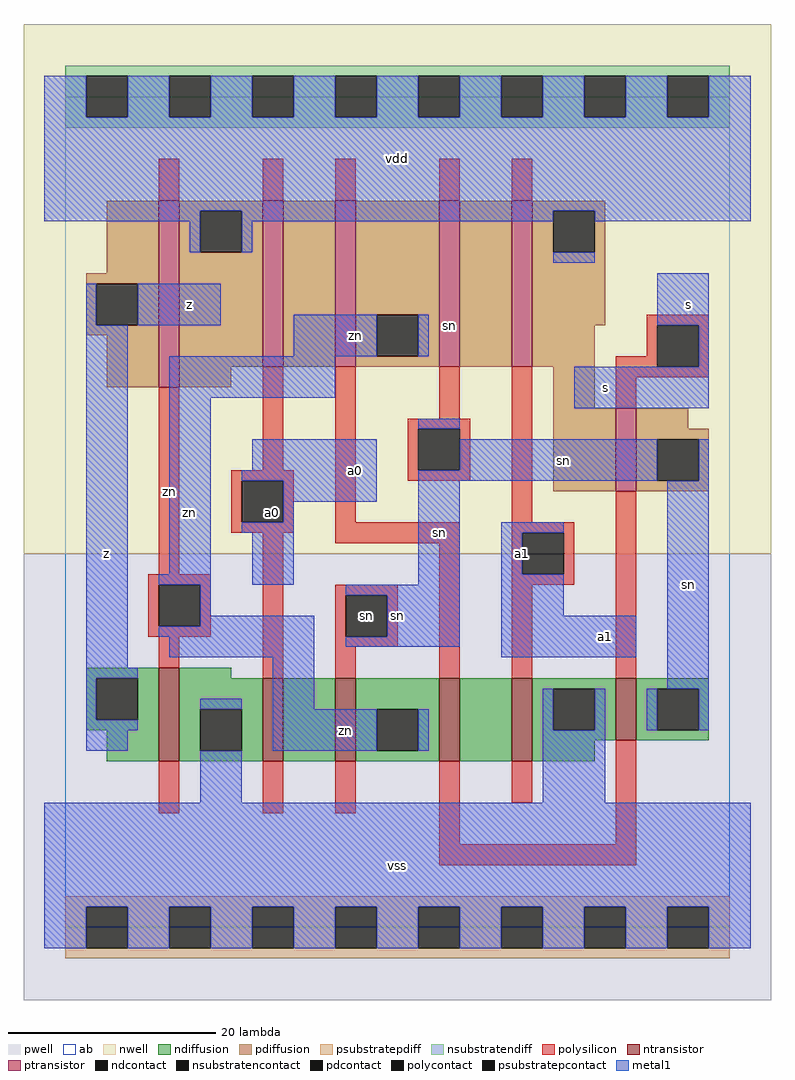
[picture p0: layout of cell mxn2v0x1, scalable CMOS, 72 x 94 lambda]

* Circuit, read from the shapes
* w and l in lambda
.subckt mxn2v0x1 a0 a1 s sn vdd vss z zn
M1 vss zn z vss nfet w=9 l=2
M2 n1 a0 vss vss nfet w=8 l=2
M3 zn sn n1 vss nfet w=8 l=2
M4 n2 s zn vss nfet w=8 l=2
M5 vss a1 n2 vss nfet w=8 l=2
M6 sn s vss vss nfet w=6 l=2
M7 vdd zn z vdd pfet w=18 l=2
M8 n3 a0 vdd vdd pfet w=16 l=2
M9 zn s n3 vdd pfet w=16 l=2
M10 n4 sn zn vdd pfet w=16 l=2
M11 vdd a1 n4 vdd pfet w=16 l=2
M12 sn s vdd vdd pfet w=8 l=2
.ends

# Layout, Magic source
magic
tech scmos
<< ab >>
rect 0 0 64 80
<< pwell >>
rect -4 -7 68 36
<< nwell >>
rect -4 36 68 87
<< polysilicon >>
rect 9 70 11 74
rect 19 70 21 74
rect 26 70 28 74
rect 36 70 38 74
rect 43 70 45 74
rect 56 58 62 59
rect 56 55 57 58
rect 9 34 11 52
rect 19 44 21 54
rect 16 43 22 44
rect 16 39 17 43
rect 21 39 22 43
rect 16 38 22 39
rect 26 39 28 54
rect 36 49 38 54
rect 33 48 39 49
rect 33 44 34 48
rect 38 44 39 48
rect 33 43 39 44
rect 43 39 45 54
rect 53 54 57 55
rect 61 54 62 58
rect 53 53 62 54
rect 53 50 55 53
rect 8 33 14 34
rect 8 29 9 33
rect 13 29 14 33
rect 8 28 14 29
rect 9 25 11 28
rect 19 24 21 38
rect 26 37 38 39
rect 26 32 32 33
rect 26 28 27 32
rect 31 28 32 32
rect 26 27 32 28
rect 26 24 28 27
rect 36 24 38 37
rect 43 38 49 39
rect 43 34 44 38
rect 48 34 49 38
rect 43 33 49 34
rect 43 24 45 33
rect 53 24 55 42
rect 9 11 11 16
rect 19 11 21 16
rect 26 11 28 16
rect 36 8 38 16
rect 43 12 45 16
rect 53 8 55 18
rect 36 6 55 8
<< ndiffusion >>
rect 2 24 9 25
rect 2 20 3 24
rect 7 20 9 24
rect 2 19 9 20
rect 4 16 9 19
rect 11 24 16 25
rect 11 21 19 24
rect 11 17 13 21
rect 17 17 19 21
rect 11 16 19 17
rect 21 16 26 24
rect 28 21 36 24
rect 28 17 30 21
rect 34 17 36 21
rect 28 16 36 17
rect 38 16 43 24
rect 45 23 53 24
rect 45 19 47 23
rect 51 19 53 23
rect 45 18 53 19
rect 55 23 62 24
rect 55 19 57 23
rect 61 19 62 23
rect 55 18 62 19
rect 45 16 51 18
<< pdiffusion >>
rect 4 63 9 70
rect 2 62 9 63
rect 2 58 3 62
rect 7 58 9 62
rect 2 57 9 58
rect 4 52 9 57
rect 11 69 19 70
rect 11 65 13 69
rect 17 65 19 69
rect 11 54 19 65
rect 21 54 26 70
rect 28 59 36 70
rect 28 55 30 59
rect 34 55 36 59
rect 28 54 36 55
rect 38 54 43 70
rect 45 69 52 70
rect 45 65 47 69
rect 51 65 52 69
rect 45 58 52 65
rect 45 54 51 58
rect 11 52 16 54
rect 47 50 51 54
rect 47 42 53 50
rect 55 48 60 50
rect 55 47 62 48
rect 55 43 57 47
rect 61 43 62 47
rect 55 42 62 43
<< metal1 >>
rect -2 78 2 82
rect 6 78 10 82
rect 14 78 18 82
rect 22 78 26 82
rect 30 78 34 82
rect 38 78 42 82
rect 46 78 50 82
rect 54 78 58 82
rect 62 78 66 82
rect -2 69 66 78
rect -2 68 13 69
rect 12 65 13 68
rect 17 68 47 69
rect 17 65 18 68
rect 51 68 66 69
rect 47 64 51 65
rect 2 58 3 62
rect 7 58 15 62
rect 2 25 6 58
rect 22 55 30 59
rect 34 55 35 59
rect 57 58 62 63
rect 10 51 26 55
rect 61 54 62 58
rect 10 34 14 51
rect 49 50 62 54
rect 34 48 38 49
rect 18 44 30 47
rect 17 43 30 44
rect 21 41 30 43
rect 38 44 57 47
rect 34 43 57 44
rect 61 43 62 47
rect 21 39 22 41
rect 17 38 22 39
rect 9 33 14 34
rect 18 33 22 38
rect 34 33 38 43
rect 13 30 14 33
rect 27 32 38 33
rect 13 29 24 30
rect 9 28 24 29
rect 10 26 24 28
rect 31 28 38 32
rect 27 27 38 28
rect 42 38 48 39
rect 42 34 44 38
rect 42 30 48 34
rect 42 26 55 30
rect 2 24 7 25
rect 2 20 3 24
rect 2 19 7 20
rect 13 21 17 22
rect 2 17 6 19
rect 20 21 24 26
rect 58 23 62 43
rect 20 17 30 21
rect 34 17 35 21
rect 46 19 47 23
rect 51 19 52 23
rect 56 19 57 23
rect 61 19 62 23
rect 13 12 17 17
rect 46 12 52 19
rect -2 2 66 12
rect -2 -2 2 2
rect 6 -2 10 2
rect 14 -2 18 2
rect 22 -2 26 2
rect 30 -2 34 2
rect 38 -2 42 2
rect 46 -2 50 2
rect 54 -2 58 2
rect 62 -2 66 2
<< ntransistor >>
rect 9 16 11 25
rect 19 16 21 24
rect 26 16 28 24
rect 36 16 38 24
rect 43 16 45 24
rect 53 18 55 24
<< ptransistor >>
rect 9 52 11 70
rect 19 54 21 70
rect 26 54 28 70
rect 36 54 38 70
rect 43 54 45 70
rect 53 42 55 50
<< polycontact >>
rect 17 39 21 43
rect 34 44 38 48
rect 57 54 61 58
rect 9 29 13 33
rect 27 28 31 32
rect 44 34 48 38
<< ndcontact >>
rect 3 20 7 24
rect 13 17 17 21
rect 30 17 34 21
rect 47 19 51 23
rect 57 19 61 23
<< pdcontact >>
rect 3 58 7 62
rect 13 65 17 69
rect 30 55 34 59
rect 47 65 51 69
rect 57 43 61 47
<< psubstratepcontact >>
rect 2 -2 6 2
rect 10 -2 14 2
rect 18 -2 22 2
rect 26 -2 30 2
rect 34 -2 38 2
rect 42 -2 46 2
rect 50 -2 54 2
rect 58 -2 62 2
<< nsubstratencontact >>
rect 2 78 6 82
rect 10 78 14 82
rect 18 78 22 82
rect 26 78 30 82
rect 34 78 38 82
rect 42 78 46 82
rect 50 78 54 82
rect 58 78 62 82
<< psubstratepdiff >>
rect 0 2 64 3
rect 0 -2 2 2
rect 6 -2 10 2
rect 14 -2 18 2
rect 22 -2 26 2
rect 30 -2 34 2
rect 38 -2 42 2
rect 46 -2 50 2
rect 54 -2 58 2
rect 62 -2 64 2
rect 0 -3 64 -2
<< nsubstratendiff >>
rect 0 82 64 83
rect 0 78 2 82
rect 6 78 10 82
rect 14 78 18 82
rect 22 78 26 82
rect 30 78 34 82
rect 38 78 42 82
rect 46 78 50 82
rect 54 78 58 82
rect 62 78 64 82
rect 0 77 64 78
<< labels >>
rlabel polysilicon 10 42 10 42 6 zn
rlabel polycontact 29 30 29 30 6 sn
rlabel ptransistor 37 58 37 58 6 sn
rlabel metal1 4 36 4 36 6 z
rlabel polycontact 20 40 20 40 6 a0
rlabel metal1 12 40 12 40 6 zn
rlabel metal1 12 60 12 60 6 z
rlabel metal1 32 6 32 6 6 vss
rlabel metal1 27 19 27 19 6 zn
rlabel metal1 32 30 32 30 6 sn
rlabel metal1 28 44 28 44 6 a0
rlabel metal1 36 38 36 38 6 sn
rlabel metal1 28 57 28 57 6 zn
rlabel metal1 32 74 32 74 6 vdd
rlabel metal1 44 36 44 36 6 a1
rlabel metal1 52 28 52 28 6 a1
rlabel metal1 60 33 60 33 6 sn
rlabel metal1 48 45 48 45 6 sn
rlabel metal1 52 52 52 52 6 s
rlabel metal1 60 60 60 60 6 s
<< end >>
